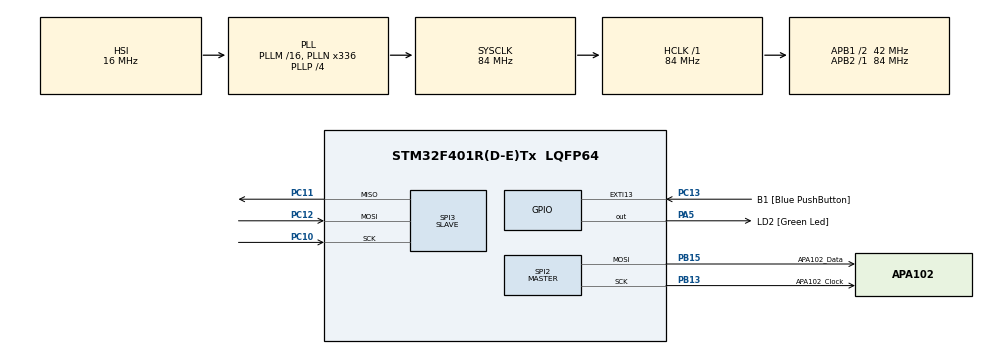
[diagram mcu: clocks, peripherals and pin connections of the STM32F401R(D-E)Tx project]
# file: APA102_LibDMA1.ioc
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Dma.Request0=SPI2_TX
Dma.Request1=SPI3_RX
Dma.Request2=SPI3_TX
Dma.SPI2_TX.0.Direction=DMA_MEMORY_TO_PERIPH
Dma.SPI2_TX.0.FIFOMode=DMA_FIFOMODE_DISABLE
Dma.SPI2_TX.0.Instance=DMA1_Stream4
Dma.SPI2_TX.0.MemDataAlignment=DMA_MDATAALIGN_BYTE
Dma.SPI2_TX.0.MemInc=DMA_MINC_ENABLE
Dma.SPI2_TX.0.Mode=DMA_NORMAL
Dma.SPI2_TX.0.PeriphDataAlignment=DMA_PDATAALIGN_BYTE
Dma.SPI2_TX.0.PeriphInc=DMA_PINC_DISABLE
Dma.SPI2_TX.0.Priority=DMA_PRIORITY_LOW
Dma.SPI3_RX.1.Direction=DMA_PERIPH_TO_MEMORY
Dma.SPI3_RX.1.FIFOMode=DMA_FIFOMODE_DISABLE
Dma.SPI3_RX.1.Instance=DMA1_Stream0
Dma.SPI3_RX.1.MemDataAlignment=DMA_MDATAALIGN_BYTE
Dma.SPI3_RX.1.MemInc=DMA_MINC_ENABLE
Dma.SPI3_RX.1.Mode=DMA_NORMAL
Dma.SPI3_RX.1.PeriphDataAlignment=DMA_PDATAALIGN_BYTE
Dma.SPI3_RX.1.PeriphInc=DMA_PINC_DISABLE
Dma.SPI3_RX.1.Priority=DMA_PRIORITY_LOW
Dma.SPI3_TX.2.Direction=DMA_MEMORY_TO_PERIPH
Dma.SPI3_TX.2.FIFOMode=DMA_FIFOMODE_DISABLE
Dma.SPI3_TX.2.Instance=DMA1_Stream5
Dma.SPI3_TX.2.MemDataAlignment=DMA_MDATAALIGN_BYTE
Dma.SPI3_TX.2.MemInc=DMA_MINC_ENABLE
Dma.SPI3_TX.2.Mode=DMA_NORMAL
Dma.SPI3_TX.2.PeriphDataAlignment=DMA_PDATAALIGN_BYTE
Dma.SPI3_TX.2.PeriphInc=DMA_PINC_DISABLE
Dma.SPI3_TX.2.Priority=DMA_PRIORITY_LOW
Mcu.Family=STM32F4
Mcu.Name=STM32F401R(D-E)Tx
Mcu.Package=LQFP64
NVIC.DMA1_Stream0_IRQn=true\:0\:0\:false\:false\:true
NVIC.DMA1_Stream4_IRQn=true\:0\:0\:false\:false\:true
NVIC.DMA1_Stream5_IRQn=true\:0\:0\:false\:false\:true
NVIC.PriorityGroup=NVIC_PRIORITYGROUP_0
PA13.GPIO_Label=TMS
PA13.Signal=SYS_JTMS-SWDIO
PA14.GPIO_Label=TCK
PA14.Signal=SYS_JTCK-SWCLK
PA2.GPIO_Label=USART_TX
PA2.GPIO_Mode=GPIO_MODE_AF_PP
PA2.GPIO_PuPd=GPIO_NOPULL
PA2.GPIO_Speed=GPIO_SPEED_FREQ_LOW
PA2.Signal=USART2_TX
PA3.GPIO_Label=USART_RX
PA3.GPIO_Mode=GPIO_MODE_AF_PP
PA3.GPIO_PuPd=GPIO_NOPULL
PA3.GPIO_Speed=GPIO_SPEED_FREQ_LOW
PA3.Signal=USART2_RX
PA5.GPIO_Label=LD2 [Green Led]
PA5.GPIO_Mode=GPIO_MODE_OUTPUT_PP
PA5.GPIO_PuPd=GPIO_NOPULL
PA5.GPIO_Speed=GPIO_SPEED_FREQ_LOW
PA5.Signal=GPIO_Output
PB13.GPIO_Label=APA102_Clock
PB13.Mode=TX_Only_Simplex_Unidirect_Master
PB13.Signal=SPI2_SCK
PB15.GPIO_Label=APA102_Data
PB15.Mode=TX_Only_Simplex_Unidirect_Master
PB15.Signal=SPI2_MOSI
PB3.GPIO_Label=SWO
PB3.Signal=SYS_JTDO-SWO
PC10.Mode=Full_Duplex_Slave
PC10.Signal=SPI3_SCK
PC11.Mode=Full_Duplex_Slave
PC11.Signal=SPI3_MISO
PC12.Mode=Full_Duplex_Slave
PC12.Signal=SPI3_MOSI
PC13-ANTI_TAMP.GPIO_Label=B1 [Blue PushButton]
PC13-ANTI_TAMP.GPIO_ModeDefaultEXTI=GPIO_MODE_IT_FALLING
PC13-ANTI_TAMP.GPIO_PuPd=GPIO_NOPULL
PC13-ANTI_TAMP.Signal=GPXTI13
PC14-OSC32_IN.Signal=RCC_OSC32_IN
PC15-OSC32_OUT.Signal=RCC_OSC32_OUT
PH0\ -\ OSC_IN.Signal=RCC_OSC_IN
PH1\ -\ OSC_OUT.Signal=RCC_OSC_OUT
ProjectManager.HeapSize=0x200
ProjectManager.StackSize=0x400
ProjectManager.TargetToolchain=SW4STM32
RCC.AHBFreq_Value=84000000
RCC.APB1CLKDivider=RCC_HCLK_DIV2
RCC.APB1Freq_Value=42000000
RCC.APB1TimFreq_Value=84000000
RCC.APB2Freq_Value=84000000
RCC.APB2TimFreq_Value=84000000
RCC.CortexFreq_Value=84000000
RCC.HCLKFreq_Value=84000000
RCC.HSE_VALUE=8000000
RCC.HSI_VALUE=16000000
RCC.LSE_VALUE=32768
RCC.PLLN=336
RCC.PLLP=RCC_PLLP_DIV4
RCC.PLLQ=7
RCC.SYSCLKFreq_VALUE=84000000
RCC.SYSCLKSource=RCC_SYSCLKSOURCE_PLLCLK
RCC.VCOOutputFreq_Value=336000000
SPI2.BaudRatePrescaler=SPI_BAUDRATEPRESCALER_16
SPI2.Direction=SPI_DIRECTION_2LINES
SPI2.Mode=SPI_MODE_MASTER
SPI2.VirtualType=VM_MASTER
SPI3.CLKPhase=SPI_PHASE_1EDGE
SPI3.CRCCalculation=SPI_CRCCALCULATION_DISABLE
SPI3.Direction=SPI_DIRECTION_2LINES
SPI3.Mode=SPI_MODE_SLAVE
SPI3.VirtualType=VM_SLAVE
board=NUCLEO-F401RE

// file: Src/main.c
/**
  ******************************************************************************
  * File Name          : main.c
  * Description        : Main program body
  ******************************************************************************
  ** This notice applies to any and all portions of this file
  * that are not between comment pairs USER CODE BEGIN and
  * USER CODE END. Other portions of this file, whether
  * inserted by the user or by software development tools
  * are owned by their respective copyright owners.
  *
  * COPYRIGHT(c) 2017 STMicroelectronics
  *
  * Redistribution and use in source and binary forms, with or without modification,
  * are permitted provided that the following conditions are met:
  *   1. Redistributions of source code must retain the above copyright notice,
  *      this list of conditions and the following disclaimer.
  *   2. Redistributions in binary form must reproduce the above copyright notice,
  *      this list of conditions and the following disclaimer in the documentation
  *      and/or other materials provided with the distribution.
  *   3. Neither the name of STMicroelectronics nor the names of its contributors
  *      may be used to endorse or promote products derived from this software
  *      without specific prior written permission.
  *
  * THIS SOFTWARE IS PROVIDED BY THE COPYRIGHT HOLDERS AND CONTRIBUTORS "AS IS"
  * AND ANY EXPRESS OR IMPLIED WARRANTIES, INCLUDING, BUT NOT LIMITED TO, THE
  * IMPLIED WARRANTIES OF MERCHANTABILITY AND FITNESS FOR A PARTICULAR PURPOSE ARE
  * DISCLAIMED. IN NO EVENT SHALL THE COPYRIGHT HOLDER OR CONTRIBUTORS BE LIABLE
  * FOR ANY DIRECT, INDIRECT, INCIDENTAL, SPECIAL, EXEMPLARY, OR CONSEQUENTIAL
  * DAMAGES (INCLUDING, BUT NOT LIMITED TO, PROCUREMENT OF SUBSTITUTE GOODS OR
  * SERVICES; LOSS OF USE, DATA, OR PROFITS; OR BUSINESS INTERRUPTION) HOWEVER
  * CAUSED AND ON ANY THEORY OF LIABILITY, WHETHER IN CONTRACT, STRICT LIABILITY,
  * OR TORT (INCLUDING NEGLIGENCE OR OTHERWISE) ARISING IN ANY WAY OUT OF THE USE
  * OF THIS SOFTWARE, EVEN IF ADVISED OF THE POSSIBILITY OF SUCH DAMAGE.
  *
  ******************************************************************************
  */
#include "main.h"
#include "stm32f4xx_hal.h"

/* USER CODE BEGIN Includes */
#include "APA102.h"
#include "limits.h" // data type info / sizes
#include <string.h> // memcpy

/* USER CODE END Includes */

SPI_HandleTypeDef hspi2;
SPI_HandleTypeDef hspi3;
DMA_HandleTypeDef hdma_spi2_tx;
DMA_HandleTypeDef hdma_spi3_rx;
DMA_HandleTypeDef hdma_spi3_tx;

/* USER CODE BEGIN PV */
/* Private variables ---------------------------------------------------------*/
// === APA102 Strip Configurable Parameters ===
#define APA102_STRIPLEN           2     // Length of APA102 LED Strip
#define APA102_SPI_HANDLE         hspi2   // SPI port connected to APA102 LED Strip
#define APA102_CURRENT_LIMIT      0
#define APA102_MAX_CURRENT        100000    // Max current available for entire strip. (mA)
#define APA102_CHANNEL_CURRENT    20      // Current consumed by each channel (color). (mA)

// === APA102 Strip Protocol Parameters ===
#define APA102_BYTES_PER_PIXEL           4
#define APA102_START_FRAME_BYTES         4
#define APA102_END_FRAME_BYTES           12
#define APA102_STRIP_UPDATE_PACKET_BYTES (APA102_START_FRAME_BYTES + (APA102_STRIPLEN * APA102_BYTES_PER_PIXEL) + APA102_END_FRAME_BYTES)
uint8_t APA102_StartFrameByte                                 = {0b00000000};
uint8_t APA102_EndFrameByte                                   = {0b11111111};
uint8_t APA102_Strip[APA102_STRIP_UPDATE_PACKET_BYTES]        = {0};
uint8_t APA102_Strip_Buffer[APA102_STRIP_UPDATE_PACKET_BYTES] = {0};    // Buffer strip updates so that the strip array can be edited during DMA output operations.
#define APA102_MAX_STRIP_LENGTH  (APA102_START_FRAME_BYTES + (UINT_MAX / APA102_BYTES_PER_PIXEL) + APA102_END_FRAME_BYTES)

// APA102_stripStatus - Global status of APA102 strip.  Primarily used to indicate whether a strip update is currently underway.
typedef enum
{
  APA102_UNKNOWN,
  APA102_ERROR,
  APA102_IDLE,
  APA102_UPDATING
} APA102_stripStatus;
APA102_stripStatus APA102_stripStatus1 = APA102_UNKNOWN;

// APA102_result - Return status for APA102 related function calls.
typedef enum
{
  APA102_SUCCESS,
  APA102_FAILURE
} APA102_result;

//
uint8_t beaconHardwareConfig = 0x00;

/* USER CODE END PV */

void SystemClock_Config(void);
static void MX_GPIO_Init(void);
static void MX_DMA_Init(void);
static void MX_SPI2_Init(void);
static void MX_SPI3_Init(void);

/* USER CODE BEGIN PFP */
/* Private function prototypes -----------------------------------------------*/
APA102_result APA102_Update(void);
APA102_result APA102_Init(void);
APA102_result APA102_SetPixel(uint32_t, uint8_t, uint16_t, uint16_t);
APA102_result APA102_SetStrip(uint8_t, uint16_t, uint16_t);
void HAL_SPI_TxCpltCallback (SPI_HandleTypeDef * hspi);
uint8_t Intensity_To_Current(uint8_t);

uint8_t BEACON_HardwareConfigCheck(void);

/* USER CODE END PFP */

/* USER CODE BEGIN 0 */

/*
 * APA102_Update - Initiates DMA transmit of current pixel data.  Scales channel brightness to fit
 *                 within specified available power (APA102_MAX_CURRENT).
 *  arguments:
 *    returns: Status flag based on HAL status.  Failures are not considered
 *             show-stopping based on streaming nature of a typical implementation.
 */
APA102_result APA102_Update()
{
    // Variable Declarations
    uint32_t requiredCurrent = 0;
    float    scalingFactor   = 0;
    uint32_t position        = 0;
    uint32_t pixel           = 0;

    // Confirm that update isn't already underway.
    if (APA102_stripStatus1 == APA102_UPDATING)
    {
        return APA102_SUCCESS;
    }

    // Indicate that APA102 strip update is underway.
    APA102_stripStatus1 = APA102_UPDATING;

    // Check power requirements and scale to suit.
    if (APA102_CURRENT_LIMIT == 1)
    {
        // Calculate power needs of current frame.
        for (pixel = 0; pixel < APA102_STRIPLEN; pixel++)
        {
            // Calculate desired pixel data's position in the strip array.
            position = (APA102_START_FRAME_BYTES + (pixel * APA102_BYTES_PER_PIXEL));

            // Convert intensity value into current consumption and add to tally.
            requiredCurrent += Intensity_To_Current(APA102_Strip[position + 1]);    // RED Channel
            requiredCurrent += Intensity_To_Current(APA102_Strip[position + 2]);    // GRN Channel
            requiredCurrent += Intensity_To_Current(APA102_Strip[position + 3]);    // BLU Channel
        }

        // Determine scaling factor and scale back, if needed.
        if (requiredCurrent > APA102_MAX_CURRENT)
        {
            // Determine Scaling Factor
              scalingFactor = ((float) APA102_MAX_CURRENT / (float) requiredCurrent);

              // Apply Scaling Factor
            for (pixel = 0; pixel < APA102_STRIPLEN; pixel++)
            {
                    // Calculate desired pixel data's position in the strip array.
                    position = (APA102_START_FRAME_BYTES + (pixel * APA102_BYTES_PER_PIXEL));

                    // Convert intensity value into current consumption and add to tally.
                    APA102_Strip[position + 1] *= scalingFactor;    // RED Channel
                    APA102_Strip[position + 2] *= scalingFactor;    // GRN Channel
                      APA102_Strip[position + 3] *= scalingFactor;  // BLU Channel
            }
        }
    }

    // Copy pixel data into output buffer.
    memcpy(APA102_Strip_Buffer, APA102_Strip, APA102_STRIP_UPDATE_PACKET_BYTES);

    // Initiate DMA transmit of current pixel data.  Check HAL return status.
    if (HAL_SPI_Transmit_DMA(&APA102_SPI_HANDLE, APA102_Strip_Buffer, APA102_STRIP_UPDATE_PACKET_BYTES) != HAL_OK)
    {
        APA102_stripStatus1 = APA102_ERROR;
        return APA102_FAILURE;
    }
    else
    {
        return APA102_SUCCESS;
    }

}

/*
 * APA102_Init - Initializes array containing pixel data.
 *  arguments:
 *    returns: Status flag based on HAL status.  Failures are not considered
 *             show-stopping based on streaming nature of a typical implementation.
 */
APA102_result APA102_Init()
{
    // Set strip status to UNKNOWN when initialized.
    APA102_stripStatus1 = APA102_UNKNOWN;

    // Sanity check strip length
    if (APA102_STRIPLEN > APA102_MAX_STRIP_LENGTH)
    {
        // Halt; cannot recover from a pixel strip data array that cannot be properly initialized.
        _Error_Handler(__FILE__, __LINE__);
    }

    // Copy start frame data into strip update packet.
    for (int i = 0; i < APA102_START_FRAME_BYTES; i++)
    {
        APA102_Strip[i] = APA102_StartFrameByte;
    }

    // Copy end frame data into strip update packet.
    int j = sizeof(APA102_Strip);
    for (int i = 0; i < APA102_START_FRAME_BYTES; i++)
    {
        APA102_Strip[j] = APA102_EndFrameByte;
        j--;
    }

    // Initialize each pixel update frame to OFF
    for (int i = APA102_START_FRAME_BYTES; i < (APA102_STRIP_UPDATE_PACKET_BYTES - APA102_END_FRAME_BYTES); i+=APA102_START_FRAME_BYTES)
    {
        // First three bits must be HIGH, remaining five are a global pixel brightness that we'll default to max for the time being.
        APA102_Strip[i] = 0b11111111;
    }

    // Return Status
    return APA102_SUCCESS;
}

/*
 * APA102_SetPixel - Sets a single pixel to the prescribed color intensities.
 *  arguments: pixel number in strip (1 based), red intensity, green intensity, blue intensity
 *    returns: Status flag based on HAL status.  Failures are not considered
 *             show-stopping based on streaming nature of a typical implementation.
 */
APA102_result APA102_SetPixel(uint32_t pixel, uint8_t red, uint16_t grn, uint16_t blu)
{
    // Variable Declarations
    uint32_t position = 0;

    // Sanity check pixel number input
    if (pixel > APA102_STRIPLEN)
    {
        return APA102_FAILURE;
    }

    // Account for 0 based array
    pixel --;

    // Calculate desired pixel data's position in the strip array.
    position = (APA102_START_FRAME_BYTES + (pixel * APA102_BYTES_PER_PIXEL));

    // Insert desired pixel data into strip array.
    APA102_Strip[position + 1] = blu;
    APA102_Strip[position + 2] = grn;
    APA102_Strip[position + 3] = red;

    // Return Status
    return APA102_SUCCESS;
}

/*
 * APA102_SetStrip - Sets the entire strip to the prescribed color intensities.
 *  arguments: red intensity, green intensity, blue intensity
 *    returns: Status flag based on HAL status.  Failures are not considered
 *             show-stopping based on streaming nature of a typical implementation.
 */
APA102_result APA102_SetStrip(uint8_t red, uint16_t grn, uint16_t blu)
{
    // Update strip color, pixel by pixel.
    for (int i = 1; i <= APA102_STRIPLEN; i++)
    {
        APA102_SetPixel(i, red, grn, blu);
    }

    // Return Status
    return APA102_SUCCESS;
}

/*
 * Intensity_To_Current - Calculates channel current consumption based on specified intensity. Currently assumes
 *                         linear relationship between intensity and current draw. May be turned into a macro if
 *                         linear relationship assumption is kept long term.
 *  arguments: Intensity of a single pixel color (channel).
 *    returns: Calculated current needs of the given single pixel color (channel).
 */
uint8_t Intensity_To_Current(uint8_t channelIntensity)
{
    // TODO - Need to account for each pixel's quiescent current and take some measurements so something more accurate then an assummed linear relationship can be used for the scaling.

    // (x - in_min) * (out_max - out_min) / (in_max - in_min) + out_min;
    return (channelIntensity - 0) * (APA102_CHANNEL_CURRENT - 0) / (255 - 0) + 0;
}

/*
 * HAL_SPI_TxCpltCallback - HAL callback function for completed SPI Tx.
 *  arguments: Relevant SPI port handle.
 *    returns: N/A
 */
void HAL_SPI_TxCpltCallback(SPI_HandleTypeDef * hspi)
{
    // Set flag indicating that APA102 strip update is complete.
    if (hspi == &APA102_SPI_HANDLE)
    {
        APA102_stripStatus1 = APA102_IDLE;
    }

}

/*
 * BEACON_HardwareConfigCheck -
 *  arguments:
 *    returns: Byte containing base configuration & beacon panel address.
 */
uint8_t BEACON_HardwareConfigCheck(void)
{
    /* TODO - Implement config init.
     *
     * Config byte format:
     * 128 - Panel mode
     * 064 - Panel mode
     * 032 - Panel mode
     * 016 - Panel address / mode config
     * 008 - Panel address / mode config
     * 004 - Panel address / mode config
     * 002 - Panel address / mode config
     * 001 - Panel address / mode config
     *
     * 0b111xxxxx - Slave mode.
     */

    return 0b11100001;
}

//
uint8_t RxFlag = 0;
void HAL_SPI_RxCpltCallback (SPI_HandleTypeDef * hspi)
{
    //
    if (hspi == &hspi3)
    {
        RxFlag = 0;
    }

}

/* USER CODE END 0 */

int main(void)
{

  /* MCU Configuration----------------------------------------------------------*/

  /* Reset of all peripherals, Initializes the Flash interface and the Systick. */
  HAL_Init();

  /* Configure the system clock */
  SystemClock_Config();

  /* Initialize all configured peripherals */
  MX_GPIO_Init();
  MX_DMA_Init();
  MX_SPI2_Init();
  MX_SPI3_Init();

  /* USER CODE BEGIN 2 */

  // APA102 LED Strip Init
  APA102_Init();
  APA102_SetStrip(0, 0, 0);
  APA102_Update();

  // System Power On Config & Address
  beaconHardwareConfig = BEACON_HardwareConfigCheck();

  // Mask out hardware config bits to leave just the panel address.
  uint8_t beaconPanelAddress = beaconHardwareConfig & 0b00011111;

  /* USER CODE END 2 */

  /* Infinite loop */
  while (1)
  {

  /* USER CODE BEGIN 3 */

      // Receive Update Packet
      uint8_t packet[512] = {0};

      if (RxFlag == 0)
      //if (1)
      {
          //RxFlag = 1;
          HAL_SPI_Receive(&hspi3, packet, 512, 1000);

          // Determine whether packet is addressed to this beacon panel.
          if (packet[0] == beaconPanelAddress || packet[0] == 255)
          {
              switch (packet[1])
              {

                  // Individual Pixel Update
                  case 0x01:
                  break;

                  // Strip Update
                  case 0x02:
                  APA102_SetStrip(packet[2], packet[3], packet[4]);
                  APA102_Update();
                  break;
              }

          }
      }

  }
  /* USER CODE END 3 */

}

/** System Clock Configuration
*/
void SystemClock_Config(void)
{

  RCC_OscInitTypeDef RCC_OscInitStruct;
  RCC_ClkInitTypeDef RCC_ClkInitStruct;

    /**Configure the main internal regulator output voltage
    */
  __HAL_RCC_PWR_CLK_ENABLE();

  __HAL_PWR_VOLTAGESCALING_CONFIG(PWR_REGULATOR_VOLTAGE_SCALE2);

    /**Initializes the CPU, AHB and APB busses clocks
    */
  RCC_OscInitStruct.OscillatorType = RCC_OSCILLATORTYPE_HSI;
  RCC_OscInitStruct.HSIState = RCC_HSI_ON;
  RCC_OscInitStruct.HSICalibrationValue = 16;
  RCC_OscInitStruct.PLL.PLLState = RCC_PLL_ON;
  RCC_OscInitStruct.PLL.PLLSource = RCC_PLLSOURCE_HSI;
  RCC_OscInitStruct.PLL.PLLM = 16;
  RCC_OscInitStruct.PLL.PLLN = 336;
  RCC_OscInitStruct.PLL.PLLP = RCC_PLLP_DIV4;
  RCC_OscInitStruct.PLL.PLLQ = 7;
  if (HAL_RCC_OscConfig(&RCC_OscInitStruct) != HAL_OK)
  {
    _Error_Handler(__FILE__, __LINE__);
  }

    /**Initializes the CPU, AHB and APB busses clocks
    */
  RCC_ClkInitStruct.ClockType = RCC_CLOCKTYPE_HCLK|RCC_CLOCKTYPE_SYSCLK
                              |RCC_CLOCKTYPE_PCLK1|RCC_CLOCKTYPE_PCLK2;
  RCC_ClkInitStruct.SYSCLKSource = RCC_SYSCLKSOURCE_PLLCLK;
  RCC_ClkInitStruct.AHBCLKDivider = RCC_SYSCLK_DIV1;
  RCC_ClkInitStruct.APB1CLKDivider = RCC_HCLK_DIV2;
  RCC_ClkInitStruct.APB2CLKDivider = RCC_HCLK_DIV1;

  if (HAL_RCC_ClockConfig(&RCC_ClkInitStruct, FLASH_LATENCY_2) != HAL_OK)
  {
    _Error_Handler(__FILE__, __LINE__);
  }

    /**Configure the Systick interrupt time
    */
  HAL_SYSTICK_Config(HAL_RCC_GetHCLKFreq()/1000);

    /**Configure the Systick
    */
  HAL_SYSTICK_CLKSourceConfig(SYSTICK_CLKSOURCE_HCLK);

  /* SysTick_IRQn interrupt configuration */
  HAL_NVIC_SetPriority(SysTick_IRQn, 0, 0);
}

/* SPI2 init function */
static void MX_SPI2_Init(void)
{

  hspi2.Instance = SPI2;
  hspi2.Init.Mode = SPI_MODE_MASTER;
  hspi2.Init.Direction = SPI_DIRECTION_2LINES;
  hspi2.Init.DataSize = SPI_DATASIZE_8BIT;
  hspi2.Init.CLKPolarity = SPI_POLARITY_LOW;
  hspi2.Init.CLKPhase = SPI_PHASE_1EDGE;
  hspi2.Init.NSS = SPI_NSS_SOFT;
  hspi2.Init.BaudRatePrescaler = SPI_BAUDRATEPRESCALER_16;
  hspi2.Init.FirstBit = SPI_FIRSTBIT_MSB;
  hspi2.Init.TIMode = SPI_TIMODE_DISABLE;
  hspi2.Init.CRCCalculation = SPI_CRCCALCULATION_DISABLE;
  hspi2.Init.CRCPolynomial = 10;
  if (HAL_SPI_Init(&hspi2) != HAL_OK)
  {
    _Error_Handler(__FILE__, __LINE__);
  }

}

/* SPI3 init function */
static void MX_SPI3_Init(void)
{

  hspi3.Instance = SPI3;
  hspi3.Init.Mode = SPI_MODE_SLAVE;
  hspi3.Init.Direction = SPI_DIRECTION_2LINES;
  hspi3.Init.DataSize = SPI_DATASIZE_8BIT;
  hspi3.Init.CLKPolarity = SPI_POLARITY_LOW;
  hspi3.Init.CLKPhase = SPI_PHASE_1EDGE;
  hspi3.Init.NSS = SPI_NSS_SOFT;
  hspi3.Init.FirstBit = SPI_FIRSTBIT_MSB;
  hspi3.Init.TIMode = SPI_TIMODE_DISABLE;
  hspi3.Init.CRCCalculation = SPI_CRCCALCULATION_DISABLE;
  hspi3.Init.CRCPolynomial = 10;
  if (HAL_SPI_Init(&hspi3) != HAL_OK)
  {
    _Error_Handler(__FILE__, __LINE__);
  }

}

static void MX_DMA_Init(void)
{
  /* DMA controller clock enable */
  __HAL_RCC_DMA1_CLK_ENABLE();

  /* DMA interrupt init */
  /* DMA1_Stream0_IRQn interrupt configuration */
  HAL_NVIC_SetPriority(DMA1_Stream0_IRQn, 0, 0);
  HAL_NVIC_EnableIRQ(DMA1_Stream0_IRQn);
  /* DMA1_Stream4_IRQn interrupt configuration */
  HAL_NVIC_SetPriority(DMA1_Stream4_IRQn, 0, 0);
  HAL_NVIC_EnableIRQ(DMA1_Stream4_IRQn);
  /* DMA1_Stream5_IRQn interrupt configuration */
  HAL_NVIC_SetPriority(DMA1_Stream5_IRQn, 0, 0);
  HAL_NVIC_EnableIRQ(DMA1_Stream5_IRQn);

}

/** Configure pins as
        * Analog
        * Input
        * Output
        * EVENT_OUT
        * EXTI
     PA2   ------> USART2_TX
     PA3   ------> USART2_RX
*/
static void MX_GPIO_Init(void)
{

  GPIO_InitTypeDef GPIO_InitStruct;

  /* GPIO Ports Clock Enable */
  __HAL_RCC_GPIOC_CLK_ENABLE();
  __HAL_RCC_GPIOH_CLK_ENABLE();
  __HAL_RCC_GPIOA_CLK_ENABLE();
  __HAL_RCC_GPIOB_CLK_ENABLE();

  /*Configure GPIO pin Output Level */
  HAL_GPIO_WritePin(LD2_GPIO_Port, LD2_Pin, GPIO_PIN_RESET);

  /*Configure GPIO pin : B1_Pin */
  GPIO_InitStruct.Pin = B1_Pin;
  GPIO_InitStruct.Mode = GPIO_MODE_IT_FALLING;
  GPIO_InitStruct.Pull = GPIO_NOPULL;
  HAL_GPIO_Init(B1_GPIO_Port, &GPIO_InitStruct);

  /*Configure GPIO pins : USART_TX_Pin USART_RX_Pin */
  GPIO_InitStruct.Pin = USART_TX_Pin|USART_RX_Pin;
  GPIO_InitStruct.Mode = GPIO_MODE_AF_PP;
  GPIO_InitStruct.Pull = GPIO_NOPULL;
  GPIO_InitStruct.Speed = GPIO_SPEED_FREQ_LOW;
  GPIO_InitStruct.Alternate = GPIO_AF7_USART2;
  HAL_GPIO_Init(GPIOA, &GPIO_InitStruct);

  /*Configure GPIO pin : LD2_Pin */
  GPIO_InitStruct.Pin = LD2_Pin;
  GPIO_InitStruct.Mode = GPIO_MODE_OUTPUT_PP;
  GPIO_InitStruct.Pull = GPIO_NOPULL;
  GPIO_InitStruct.Speed = GPIO_SPEED_FREQ_LOW;
  HAL_GPIO_Init(LD2_GPIO_Port, &GPIO_InitStruct);

}

void _Error_Handler(char * file, int line)
{
  while(1)
  {
  }
}

/************************ (C) COPYRIGHT STMicroelectronics *****END OF FILE****/
